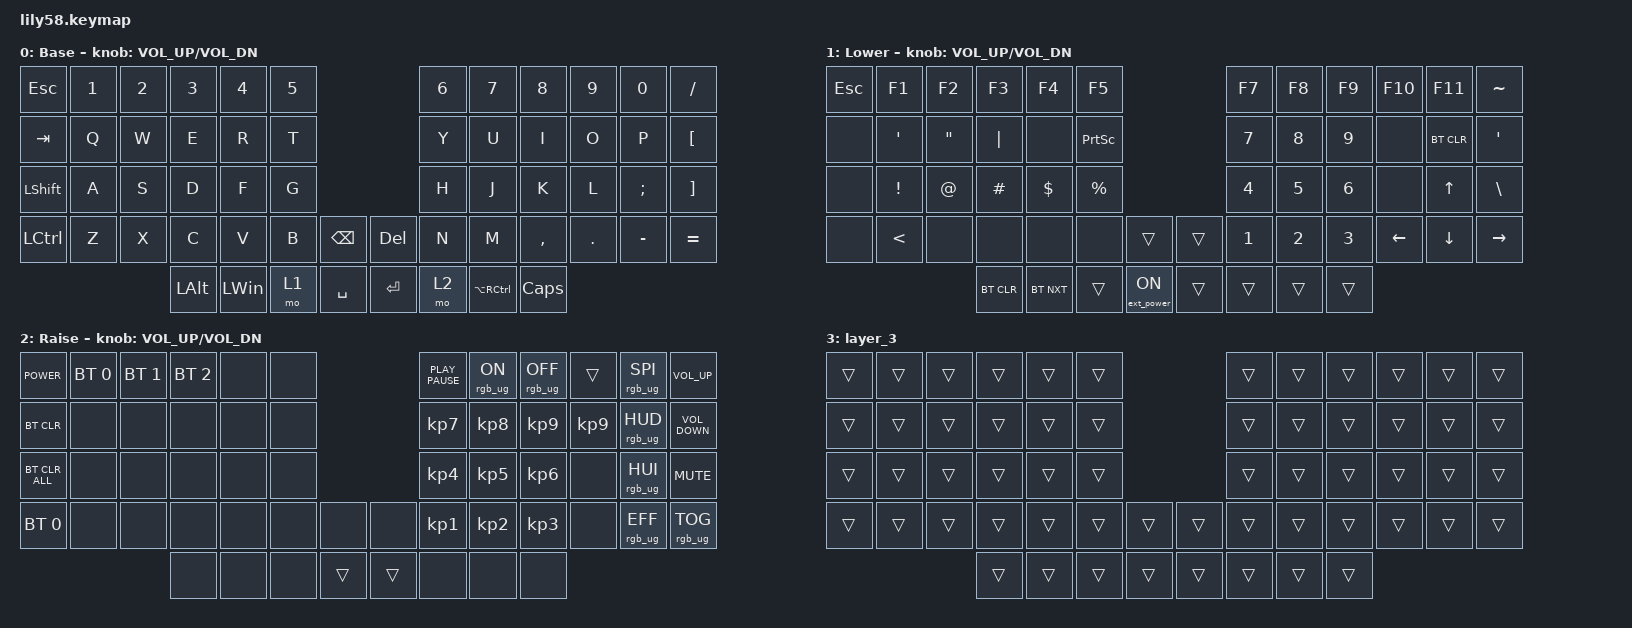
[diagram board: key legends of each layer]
/*
 * Copyright (c) 2020 The ZMK Contributors
 *
 * SPDX-License-Identifier: MIT
 */

#include <behaviors.dtsi>
#include <dt-bindings/zmk/bt.h>
#include <dt-bindings/zmk/ext_power.h>
#include <dt-bindings/zmk/keys.h>
#include <dt-bindings/zmk/rgb.h>

/ {
    keymap {
        compatible = "zmk,keymap";

        default_layer {
            // ------------------------------------------------------------------------------------------------------------
            // |  ESC  |  1  |  2  |  3   |  4   |  5   |                   |  6   |  7    |  8    |  9   |   0   |   `   |
            // |  TAB  |  Q  |  W  |  E   |  R   |  T   |                   |  Y   |  U    |  I    |  O   |   P   |   -   |
            // |  CTRL |  A  |  S  |  D   |  F   |  G   |                   |  H   |  J    |  K    |  L   |   ;   |   '   |
            // | SHIFT |  Z  |  X  |  C   |  V   |  B   |   "["  |  |  "]"  |  N   |  M    |  ,    |  .   |   /   | SHIFT |
            //                     | ALT  | GUI  | LOWER|  SPACE |  | ENTER | RAISE| BSPC  | GUI   |

            label = "Base";
            bindings = <
&kp ESC           &kp NUMBER_1  &kp N2  &kp N3        &kp N4        &kp N5                               &kp N6  &kp N7         &kp N8     &kp N9   &kp N0     &kp SLASH
&kp TAB           &kp Q         &kp W   &kp E         &kp R         &kp T                                &kp Y   &kp U          &kp I      &kp O    &kp P      &kp LEFT_BRACKET
&kp LEFT_SHIFT    &kp A         &kp S   &kp D         &kp F         &kp G                                &kp H   &kp J          &kp K      &kp L    &kp SEMI   &kp RIGHT_BRACKET
&kp LEFT_CONTROL  &kp Z         &kp X   &kp C         &kp V         &kp B   &kp BACKSPACE    &kp DELETE  &kp N   &kp M          &kp COMMA  &kp DOT  &kp MINUS  &kp EQUAL
                                        &kp LEFT_ALT  &kp LEFT_WIN  &mo 1   &kp SPACE        &kp RET     &mo 2   &kp LA(RCTRL)  &kp CAPS
            >;

            sensor-bindings = <&inc_dec_kp C_VOL_UP C_VOL_DN>;
        };

        lower_layer {
            // ------------------------------------------------------------------------------------------------------------
            // | BTCLR | BT1 | BT2 |  BT3 |  BT4 |  BT5 |                   |      |       |       |      |       |       |
            // |  F1   |  F2 |  F3 |  F4  |  F5  |  F6  |                   |  F7  |  F8   |  F9   |  F10 |  F11  |  F12  |
            // |   `   |  !  |  @  |  #   |  $   |  %   |                   |  ^   |  &    |  *    |  (   |   )   |   ~   |
            // |       |     |     |      |      |      |        |  |       |      |  _    |  +    |  {   |   }   |  "|"  |
            //                     |      |      |      |        |  |       |      |       |       |

            label = "Lower";
            bindings = <
&kp ESCAPE  &kp F1          &kp F2             &kp F3      &kp F4      &kp F5                                       &kp F7        &kp F8        &kp F9        &kp F10   &kp F11     &kp TILDE
&none       &kp APOSTROPHE  &kp DOUBLE_QUOTES  &kp PIPE    &none       &kp PRINTSCREEN                              &kp NUMBER_7  &kp NUMBER_8  &kp NUMBER_9  &none     &bt BT_CLR  &kp SINGLE_QUOTE
&none       &kp EXCL        &kp AT             &kp HASH    &kp DOLLAR  &kp PRCNT                                    &kp NUMBER_4  &kp NUMBER_5  &kp NUMBER_6  &none     &kp UP      &kp BACKSLASH
&none       &kp LESS_THAN   &none              &none       &none       &none            &trans              &trans  &kp NUMBER_1  &kp NUMBER_2  &kp NUMBER_3  &kp LEFT  &kp DOWN    &kp RIGHT
                                               &bt BT_CLR  &bt BT_NXT  &trans           &ext_power EP_ON    &trans  &trans        &trans        &trans
            >;

            sensor-bindings = <&inc_dec_kp C_VOL_UP C_VOL_DN>;
        };

        raise_layer {
            // ------------------------------------------------------------------------------------------------------------
            // |       |     |     |      |      |      |                   |      |       |       |      |       |       |
            // |   `   |  1  |  2  |  3   |  4   |  5   |                   |  6   |   7   |   8   |  9   |   0   |       |
            // |   F1  |  F2 |  F3 |  F4  |  F5  |  F6  |                   |      |   <-  |   v   |  ^   |  ->   |       |
            // |   F7  |  F8 |  F9 |  F10 |  F11 |  F12 |        |  |       |  +   |   -   |   =   |  [   |   ]   |   \   |
            //                     |      |      |      |        |  |       |      |       |       |

            label = "Raise";
            bindings = <
&kp K_POWER     &bt BT_SEL 0  &bt BT_SEL 1  &bt BT_SEL 2  &none  &none                    &kp K_PLAY_PAUSE  &rgb_ug RGB_ON   &rgb_ug RGB_OFF  &trans           &rgb_ug RGB_SPI  &kp C_VOLUME_UP
&bt BT_CLR      &none         &none         &none         &none  &none                    &kp KP_NUMBER_7   &kp KP_NUMBER_8  &kp KP_NUMBER_9  &kp KP_NUMBER_9  &rgb_ug RGB_HUD  &kp C_VOLUME_DOWN
&bt BT_CLR_ALL  &none         &none         &none         &none  &none                    &kp KP_NUMBER_4   &kp KP_NUMBER_5  &kp KP_NUMBER_6  &none            &rgb_ug RGB_HUI  &kp K_MUTE
&bt BT_SEL 0    &none         &none         &none         &none  &none  &none     &none   &kp KP_NUMBER_1   &kp KP_NUMBER_2  &kp KP_NUMBER_3  &none            &rgb_ug RGB_EFF  &rgb_ug RGB_TOG
                                            &none         &none  &none  &trans    &trans  &none             &none            &none
            >;

            sensor-bindings = <&inc_dec_kp C_VOL_UP C_VOL_DN>;
        };

        layer_3 {
            bindings = <
&trans  &trans  &trans  &trans  &trans  &trans                    &trans  &trans  &trans  &trans  &trans  &trans
&trans  &trans  &trans  &trans  &trans  &trans                    &trans  &trans  &trans  &trans  &trans  &trans
&trans  &trans  &trans  &trans  &trans  &trans                    &trans  &trans  &trans  &trans  &trans  &trans
&trans  &trans  &trans  &trans  &trans  &trans  &trans    &trans  &trans  &trans  &trans  &trans  &trans  &trans
                        &trans  &trans  &trans  &trans    &trans  &trans  &trans  &trans
            >;
        };
    };
};
